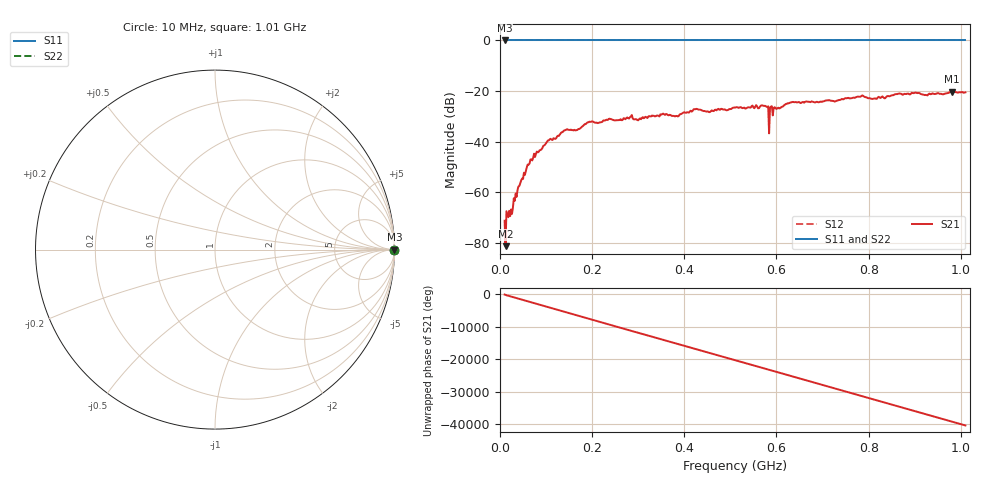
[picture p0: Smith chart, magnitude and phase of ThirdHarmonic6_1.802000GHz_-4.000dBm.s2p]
! 8/16/2025 9:48:41 PM
! C:\ANRITSUVNA\TEMP\TEMP.S2P
! CHANNEL.1
! TR.MEASUREMENT
! RAW.DATA
! RF.CORRECTION.OFF
! AVERAGING.OFF
! IF.BANDWIDTH: 5KHZ
! SWEEPTYPE:  FREQ.SWEEP(Linear)
! Reference Plane Port Info
! PORT:  PORT1  PORT2
! DISTANCE:  0  m  0  m
! TIME:  0  s  0  s
! PHASE.OFFSET:  0  deg.  0  deg.
! LOSS:  0  dB  0  dB
! REF.LOSS:  0  dB  0  dB
! REF.FREQ:  0  Hz  0  Hz
! Power Info
! POWER:  -20  dBm  -20  dBm
! EFF.POWER:  -20  dBm  -20  dBm
! SOURCE.ATTEN:  0  dB  0  dB
! TEST.ATTEN:  0  dB  0  dB
# GHZ S RI R 50.0
! FREQ.GHZ  S11RE  S11IM  S21RE  S21IM  S12RE  S12IM  S22RE  S22IM
!; PortSelection: Port_12
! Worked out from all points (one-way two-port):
!   501 points, 10 MHz to 1.01 GHz, reference 50 ohm
!   highest |S21| = -20.27 dB at 980 MHz (marker M1); lowest = -81.3 dB at 12 MHz (marker M2)
!   lowest |S11| = 0.0 dB at 10 MHz (marker M3)
!   |S11| at or under -10 dB: nowhere
!   |S22| runs from 0.0 to 0.0 dB; largest |S21 - S12| = 1.1
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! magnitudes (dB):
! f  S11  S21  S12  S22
! 10 MHz  0.0  -71.2  0.0  0.0
! 12 MHz  0.0  -81.3  0.0  0.0
! 16 MHz  0.0  -68.6  0.0  0.0
! 18 MHz  0.0  -69.8  0.0  0.0
! 24 MHz  0.0  -66.8  0.0  0.0
! 44 MHz  0.0  -56.4  0.0  0.0
! 70 MHz  0.0  -47.4  0.0  0.0
! 106 MHz  0.0  -39.5  0.0  0.0
! 142 MHz  0.0  -35.4  0.0  0.0
! 178 MHz  0.0  -34.1  0.0  0.0
! 198 MHz  0.0  -32.1  0.0  0.0
! 344 MHz  0.0  -29.8  0.0  0.0
! 384 MHz  0.0  -29.9  0.0  0.0
! 510 MHz  0.0  -26.5  0.0  0.0
! 572 MHz  0.0  -25.8  0.0  0.0
! 588 MHz  0.0  -26.1  0.0  0.0
! 590 MHz  0.0  -26.0  0.0  0.0
! 632 MHz  0.0  -24.5  0.0  0.0
! 678 MHz  0.0  -24.2  0.0  0.0
! 844 MHz  0.0  -22.0  0.0  0.0
! 980 MHz  0.0  -20.3  0.0  0.0
! 1.01 GHz  0.0  -20.5  0.0  0.0
